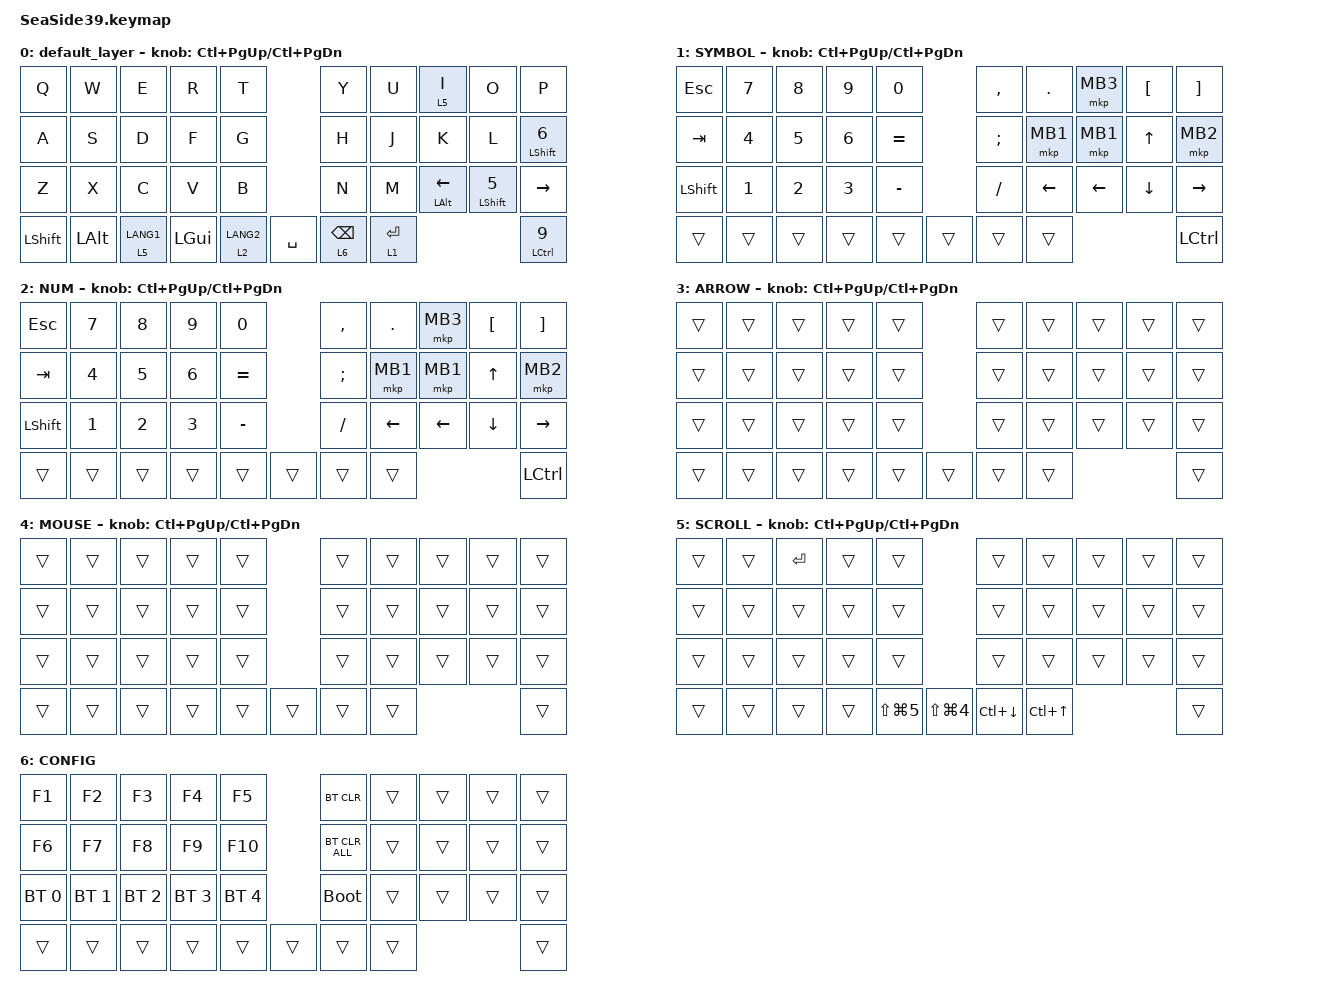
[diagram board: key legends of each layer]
#include <behaviors.dtsi>
#include <dt-bindings/zmk/bt.h>
#include <dt-bindings/zmk/keys.h>
#include <dt-bindings/zmk/pointing.h>

#define MOUSE 4
#define SCROLL 5
#define NUM 6

&mt {
    flavor = "balanced";
    quick-tap-ms = <300>;
};

&lt {
    flavor = "balanced";
    quick-tap-ms = <300>;
};

/ {
    combos { compatible = "zmk,combos"; };

    macros {
        to_layer_0: to_layer_0 {
            compatible = "zmk,behavior-macro-one-param";
            #binding-cells = <1>;
            bindings = <&to 0 &macro_param_1to1 &kp MACRO_PLACEHOLDER>;
            label = "TO_LAYER_0";
        };
    };

    behaviors {
        lt_to_layer_0: lt_to_layer_0 {
            compatible = "zmk,behavior-hold-tap";
            label = "LAYER_TAP_TO_0";
            bindings = <&mo>, <&to_layer_0>;

            #binding-cells = <2>;
            tapping-term-ms = <200>;
        };
    };

    keymap {
        compatible = "zmk,keymap";

        default_layer {
            bindings = <
&kp Q             &kp W      &kp E         &kp R             &kp T                               &kp Y            &kp U        &lt 5 I                     &kp O                    &kp P
&kp A             &kp S      &kp D         &kp F             &kp G                               &kp H            &kp J        &kp K                       &kp L                    &mt LEFT_SHIFT NUMBER_6
&kp Z             &kp X      &kp C         &kp V             &kp B                               &kp N            &kp M        &mt LEFT_ALT LEFT_ARROW     &mt LEFT_SHIFT NUMBER_5  &kp RIGHT_ARROW
&kp LEFT_SHIFT    &kp LEFT_ALT   &lt 5 LANG1  &kp LEFT_GUI  &lt 2 LANG2  &kp SPACE             &lt 6 BACKSPACE  &lt 1 ENTER                                                         &mt LCTRL NUMBER_9
            >;

            sensor-bindings = <&inc_dec_kp LC(PAGE_UP) LC(PAGE_DOWN)>;
        };

        SYMBOL {
            bindings = <
&kp ESCAPE     &kp NUMBER_7  &kp NUMBER_8   &kp NUMBER_9   &kp NUMBER_0                    &kp COMMA        &kp PERIOD        &mkp MB3           &kp LBKT        &kp RBKT
&kp TAB        &kp NUMBER_4  &kp NUMBER_5   &kp NUMBER_6   &kp EQUAL                       &kp SEMI         &mkp MB1          &mkp MB1           &kp UP_ARROW    &mkp MB2
&kp LEFT_SHIFT  &kp NUMBER_1   &kp NUMBER_2   &kp NUMBER_3  &kp MINUS                      &kp SLASH        &kp LEFT_ARROW    &kp LEFT_ARROW     &kp DOWN_ARROW  &kp RIGHT_ARROW
&trans         &trans        &trans         &trans         &trans    &trans                &trans           &trans                                               &kp LCTRL
            >;
            sensor-bindings = <&inc_dec_kp LC(PAGE_UP) LC(PAGE_DOWN)>;
        };

        NUM {
            bindings = <
&kp ESCAPE     &kp NUMBER_7  &kp NUMBER_8  &kp NUMBER_9  &kp NUMBER_0                      &kp COMMA        &kp PERIOD       &mkp MB3            &kp LBKT         &kp RBKT
&kp TAB        &kp NUMBER_4  &kp NUMBER_5  &kp NUMBER_6  &kp EQUAL                         &kp SEMI         &mkp MB1         &mkp MB1            &kp UP_ARROW     &mkp MB2
&kp LEFT_SHIFT  &kp NUMBER_1  &kp NUMBER_2   &kp NUMBER_3   &kp MINUS                      &kp SLASH        &kp LEFT_ARROW   &kp LEFT_ARROW      &kp DOWN_ARROW   &kp RIGHT_ARROW
&trans         &trans        &trans        &trans         &trans     &trans                &trans           &trans                                                &kp LCTRL
            >;
            sensor-bindings = <&inc_dec_kp LC(PAGE_UP) LC(PAGE_DOWN)>;
        };

        ARROW {
            bindings = <
&trans &trans &trans &trans &trans                      &trans &trans &trans &trans &trans
&trans &trans &trans &trans &trans                      &trans &trans &trans &trans &trans
&trans &trans &trans &trans &trans                      &trans &trans &trans &trans &trans
&trans &trans &trans &trans &trans                      &trans &trans &trans &trans
            >;
            sensor-bindings = <&inc_dec_kp LC(PAGE_UP) LC(PAGE_DOWN)>;
        };

        MOUSE {
            bindings = <
&trans  &trans  &trans  &trans  &trans                      &trans  &trans  &trans  &trans  &trans
&trans  &trans  &trans  &trans  &trans                      &trans  &trans  &trans  &trans  &trans
&trans  &trans  &trans  &trans  &trans                      &trans  &trans  &trans  &trans  &trans
&trans  &trans  &trans  &trans  &trans                      &trans  &trans  &trans  &trans
            >;
            sensor-bindings = <&inc_dec_kp LC(PAGE_UP) LC(PAGE_DOWN)>;
        };

        SCROLL {
            bindings = <
&trans  &trans  &kp ENTER  &trans  &trans                                            &trans            &trans  &trans  &trans  &trans
&trans  &trans  &trans     &trans  &trans                                            &trans            &trans  &trans  &trans  &trans
&trans  &trans  &trans     &trans  &trans                                            &trans            &trans  &trans  &trans  &trans
&trans  &trans  &trans     &trans  &kp LS(LG(N5))  &kp LS(LG(N4))      &kp LC(DOWN)  &kp LC(UP_ARROW)                          &trans
            >;
            sensor-bindings = <&inc_dec_kp LC(PAGE_UP) LC(PAGE_DOWN)>;
        };

        CONFIG {
            bindings = <
&kp F1        &kp F2        &kp F3        &kp F4        &kp F5                             &bt BT_CLR      &trans  &trans  &trans  &trans
&kp F6        &kp F7        &kp F8        &kp F9        &kp F10                            &bt BT_CLR_ALL      &trans  &trans  &trans  &trans
&bt BT_SEL 0    &bt BT_SEL 1  &bt BT_SEL 2  &bt BT_SEL 3  &bt BT_SEL 4                     &bootloader     &trans  &trans  &trans  &trans
&trans          &trans        &trans        &trans        &trans        &trans             &trans  &trans                          &trans
            >;
        };
    };
};
